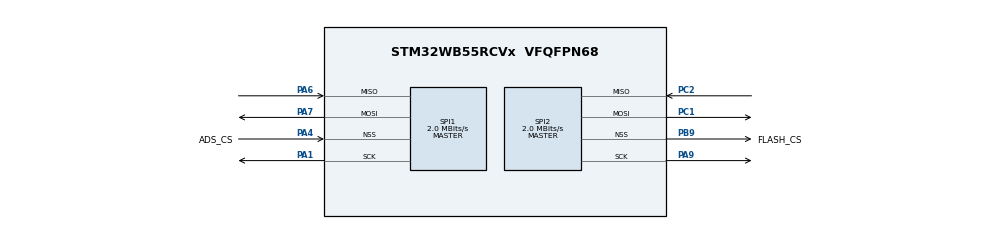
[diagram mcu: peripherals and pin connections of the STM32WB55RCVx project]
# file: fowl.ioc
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Mcu.Family=STM32WB
Mcu.Name=STM32WB55RCVx
Mcu.Package=VFQFPN68
NVIC.PriorityGroup=NVIC_PRIORITYGROUP_4
PA1.Mode=Full_Duplex_Master
PA1.Signal=SPI1_SCK
PA4.GPIO_Label=ADS_CS
PA4.Mode=NSS_Signal_Hard_Input
PA4.Signal=SPI1_NSS
PA6.Mode=Full_Duplex_Master
PA6.Signal=SPI1_MISO
PA7.Mode=Full_Duplex_Master
PA7.Signal=SPI1_MOSI
PA9.Mode=Full_Duplex_Master
PA9.Signal=SPI2_SCK
PB9.GPIO_Label=FLASH_CS
PB9.Mode=NSS_Signal_Hard_Output
PB9.Signal=SPI2_NSS
PC1.Mode=Full_Duplex_Master
PC1.Signal=SPI2_MOSI
PC2.Mode=Full_Duplex_Master
PC2.Signal=SPI2_MISO
ProjectManager.HeapSize=0x200
ProjectManager.StackSize=0x400
ProjectManager.TargetToolchain=STM32CubeIDE
RCC.APB3Freq_Value=16000000
RCC.HSE_VALUE=8000000
RCC.HSI48_VALUE=48000000
RCC.HSI_VALUE=16000000
RCC.LSE_VALUE=32768
RCC.VCOOutputFreq_Value=32000000
SPI1.CalculateBaudRate=2.0 MBits/s
SPI1.Direction=SPI_DIRECTION_2LINES
SPI1.Mode=SPI_MODE_MASTER
SPI1.VirtualNSS=VM_NSSHARD
SPI1.VirtualType=VM_MASTER
SPI2.CalculateBaudRate=2.0 MBits/s
SPI2.Direction=SPI_DIRECTION_2LINES
SPI2.Mode=SPI_MODE_MASTER
SPI2.VirtualNSS=VM_NSSHARD
SPI2.VirtualType=VM_MASTER
board=custom

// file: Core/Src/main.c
/* USER CODE BEGIN Header */
/**
  ******************************************************************************
  * @file           : main.c
  * @brief          : Main program body
  ******************************************************************************
  * @attention
  *
  * Copyright (c) 2023 STMicroelectronics.
  * All rights reserved.
  *
  * This software is licensed under terms that can be found in the LICENSE file
  * in the root directory of this software component.
  * If no LICENSE file comes with this software, it is provided AS-IS.
  *
  ******************************************************************************
  */
/* USER CODE END Header */
#include "main.h"

/* USER CODE BEGIN Includes */
#include <string.h>
#include "ads1293.h"
/* USER CODE END Includes */

 SPI_HandleTypeDef hspi1;
SPI_HandleTypeDef hspi2;

/* USER CODE BEGIN PV */

 uint8_t data[3];
 int timeout= 100;
 int size = 2;
 uint8_t tx_Data[20];

/* USER CODE END PV */

void SystemClock_Config(void);
void PeriphCommonClock_Config(void);
static void MX_GPIO_Init(void);
static void MX_SPI1_Init(void);
static void MX_SPI2_Init(void);

/* USER CODE BEGIN 0 */
static void cs_low_ads(){
	  HAL_GPIO_WritePin(GPIOA, ADS_CS_Pin, GPIO_PIN_RESET); //CS установлен в ноль
	  };
static void cs_high_ads(){
	 	  HAL_GPIO_WritePin(GPIOA, ADS_CS_Pin, GPIO_PIN_SET); //CS установлен в единицу
	 	  };

void ADS1293_write(uint8_t address, uint8_t value){
	uint8_t data[2];
	uint8_t command_field = address & ADS1293_WRITE_BIT;//формируем command field
	data[0] = command_field;
	data[1] = value; //байт, который запишем в регистр

	cs_low_ads();
	HAL_SPI_Transmit(&hspi1, data, 2, 100);
	//передача двух байт, первый - адрес регистра,
	//второй - то, что хотим записать
	cs_high_ads();
	HAL_Delay(10);
};
static uint8_t ADS1293_read(uint8_t address){
	uint8_t command_field = address | ADS1293_READ_BIT;
	uint8_t read_val;
	cs_low_ads();
	HAL_SPI_Transmit(&hspi1, &command_field, 1, 100);
	HAL_SPI_Receive(&hspi1, &read_val, 1, 100);
	cs_high_ads();
	return read_val;
};

void ADS1293_INIT(){
	//power-down - выкл, stand-by - выкл, start conversion выкл
	ADS1293_write(ADS1293_CONFIG_REG,0b000);
	//POS1=IN2, NEG1=IN1
	ADS1293_write(ADS1293_FLEX_CH1_CN_REG,0b00010001);
	//POS2=IN3, NEG2=IN1
	ADS1293_write(ADS1293_FLEX_CH2_CN_REG,0b00011001);
	// POS3=IN5, NEG3=IN6
	ADS1293_write(ADS1293_FLEX_CH3_CN_REG,0b00101110);
	//common-mode detector -вкл на IN1,IN2,IN3
	ADS1293_write(ADS1293_CMDET_EN_REG,0b00000111);
	//подкл IN4 к RLD control
	ADS1293_write(ADS1293_RLD_CN_REG,0b0000100);
	//подключаем Wilson control
	ADS1293_write(ADS1293_WILSON_EN1_REG,0b001);
	ADS1293_write(ADS1293_WILSON_EN2_REG,0b010);
	ADS1293_write(ADS1293_WILSON_EN3_REG,0b011);
	ADS1293_write(ADS1293_WILSON_CN_REG,0b01);

	//используем внешний кварцевый резонатор
	ADS1293_write(ADS1293_OSC_CN_REG,0b100);

	//настраиваем цифровой фильтр
	ADS1293_write(ADS1293_R2_RATE_REG,0b1000);

	ADS1293_write(ADS1293_R3_RATE1_REG,0b100);
	ADS1293_write(ADS1293_R3_RATE2_REG,0b100);
	ADS1293_write(ADS1293_R3_RATE3_REG,0b100);

	//data ready bar на channel 1 ECG
	ADS1293_write(ADS1293_DRDYB_SRC_REG,0b1000);

	//вкл чтение с CH1 CH2 CH3, вкл status data loop read-back
	ADS1293_write(ADS1293_CH_CNFG_REG,0b1110001);

};

void ADS1293_start_conv(){
	ADS1293_write(ADS1293_CH_CNFG_REG,0b001);
}

void ADS1293_stream_read(unsigned long int* databuffer){

	unsigned long int  result = 0x000000000000000000000000;
	  //////////// Read lead I
	  result=ADS1293_read(0x37);
	  result=result<<8;
	  result|=ADS1293_read(0x38);
	  result=result<<8;
	  result|=ADS1293_read(0x39);
	  databuffer[0]=result;

	  /////////// Read lead II
	  result=ADS1293_read(0x3A);
	  result=result<<8;
	  result|=ADS1293_read(0x3B);
	  result=result<<8;
	  result|=ADS1293_read(0x3C);
	  databuffer[1]=result;

	  //////Read lead V1
	  result=ADS1293_read(0x3D);
	  result=result<<8;
	  result|=ADS1293_read(0x3E);
	  result=result<<8;
	  result|=ADS1293_read(0x3F);
	  databuffer[2]=result;

}

/* USER CODE END 0 */

int main(void)
{

  /* MCU Configuration--------------------------------------------------------*/

  /* Reset of all peripherals, Initializes the Flash interface and the Systick. */
  HAL_Init();

  /* Configure the system clock */
  SystemClock_Config();

/* Configure the peripherals common clocks */
  PeriphCommonClock_Config();

  /* Initialize all configured peripherals */
  MX_GPIO_Init();
  MX_SPI1_Init();
  MX_SPI2_Init();

  /* Infinite loop */
  while (1)
  {

    /* USER CODE BEGIN 3 */
	  ADS1293_read(ADS1293_AFE_DITHER_EN_REG);

/*

	  void ADS_INIT(){

		  uint8_t tmpTXData[20];//объявили массив для хранения данных
		  memset(tmpTXData, 0, sizeof(tmpTXData));//Очистка массива
		  tmpTXData[0]=ADS1293_CONFIG_REG;//записали в первый элемент массива адрес конфигурационного регистра
		  tmpTXData[1]=0x010;//запустили режим ожидания - записав во второй элемент массива нужную комбинацию
		  ADS1293_write_read(tmpTXData, 2);//отправляем по spi два байта - адрес регистра + то что хотим записать

	  }
	 void ADS_CONFIG(){
			uint8_t tmpTXData[20];//объявили массив для хранения данных

			memset(tmpTXData, 0, sizeof(tmpTXData));//Очистка массива
			tmpTXData[0]=ADS1293_FLEX_CH1_CN_REG;//записали в первый элемент массива адрес конфигурационного регистра
			tmpTXData[1]=0b01001010;// конфигурация Flex Routing Switch Control for Channel 1
			ADS1293_write_read(tmpTXData, 2);//отправляем по spi два байта - адрес регистра + то что хотим записать

			memset(tmpTXData, 0, sizeof(tmpTXData));//Очистка массива
			tmpTXData[0]=ADS1293_FLEX_CH2_CN_REG;//записали в первый элемент массива адрес конфигурационного регистра
			tmpTXData[1]=0b01001010;// конфигурация Flex Routing Switch Control for Channel 2
			ADS1293_write_read(tmpTXData, 2);

			memset(tmpTXData, 0, sizeof(tmpTXData));//Очистка массива
			tmpTXData[0]=ADS1293_FLEX_CH3_CN_REG;//записали в первый элемент массива адрес конфигурационного регистра
			tmpTXData[1]=0b01001010;// конфигурация Flex Routing Switch Control for Channel 3
			ADS1293_write_read(tmpTXData, 2);

			memset(tmpTXData, 0, sizeof(tmpTXData));//Очистка массива
			tmpTXData[0]=ADS1293_FLEX_VBAT_CN_REG;//записали в первый элемент массива адрес конфигурационного регистра
			tmpTXData[1]=0b111;// Flex Routing Switch for Battery Monitoring
			ADS1293_write_read(tmpTXData, 2);

			//Lead-Off Detect Control Registers

			memset(tmpTXData, 0, sizeof(tmpTXData));//Очистка массива
			tmpTXData[0]=ADS1293_LOD_CN_REG;//записали в первый элемент массива адрес конфигурационного регистра
			tmpTXData[1]=0b10100;//Lead-Off Detect Control
			ADS1293_write_read(tmpTXData, 2);

			//Lead-Off Detect Enable

			memset(tmpTXData, 0, sizeof(tmpTXData));//Очистка массива
			tmpTXData[0]=ADS1293_LOD_CN_REG;//записали в первый элемент массива адрес конфигурационного регистра
			tmpTXData[1]=0b111111;//Lead-Off Detect Enable
			ADS1293_write_read(tmpTXData, 2);

	 	 }*/

  }
  /* USER CODE END 3 */
}

void SystemClock_Config(void)
{
  RCC_OscInitTypeDef RCC_OscInitStruct = {0};
  RCC_ClkInitTypeDef RCC_ClkInitStruct = {0};

  /** Configure the main internal regulator output voltage
  */
  __HAL_PWR_VOLTAGESCALING_CONFIG(PWR_REGULATOR_VOLTAGE_SCALE1);

  /** Initializes the RCC Oscillators according to the specified parameters
  * in the RCC_OscInitTypeDef structure.
  */
  RCC_OscInitStruct.OscillatorType = RCC_OSCILLATORTYPE_HSI|RCC_OSCILLATORTYPE_MSI;
  RCC_OscInitStruct.HSIState = RCC_HSI_ON;
  RCC_OscInitStruct.MSIState = RCC_MSI_ON;
  RCC_OscInitStruct.HSICalibrationValue = RCC_HSICALIBRATION_DEFAULT;
  RCC_OscInitStruct.MSICalibrationValue = RCC_MSICALIBRATION_DEFAULT;
  RCC_OscInitStruct.MSIClockRange = RCC_MSIRANGE_6;
  RCC_OscInitStruct.PLL.PLLState = RCC_PLL_NONE;
  if (HAL_RCC_OscConfig(&RCC_OscInitStruct) != HAL_OK)
  {
    Error_Handler();
  }

  /** Configure the SYSCLKSource, HCLK, PCLK1 and PCLK2 clocks dividers
  */
  RCC_ClkInitStruct.ClockType = RCC_CLOCKTYPE_HCLK4|RCC_CLOCKTYPE_HCLK2
                              |RCC_CLOCKTYPE_HCLK|RCC_CLOCKTYPE_SYSCLK
                              |RCC_CLOCKTYPE_PCLK1|RCC_CLOCKTYPE_PCLK2;
  RCC_ClkInitStruct.SYSCLKSource = RCC_SYSCLKSOURCE_MSI;
  RCC_ClkInitStruct.AHBCLKDivider = RCC_SYSCLK_DIV1;
  RCC_ClkInitStruct.APB1CLKDivider = RCC_HCLK_DIV1;
  RCC_ClkInitStruct.APB2CLKDivider = RCC_HCLK_DIV1;
  RCC_ClkInitStruct.AHBCLK2Divider = RCC_SYSCLK_DIV1;
  RCC_ClkInitStruct.AHBCLK4Divider = RCC_SYSCLK_DIV1;

  if (HAL_RCC_ClockConfig(&RCC_ClkInitStruct, FLASH_LATENCY_0) != HAL_OK)
  {
    Error_Handler();
  }
}

void PeriphCommonClock_Config(void)
{
  RCC_PeriphCLKInitTypeDef PeriphClkInitStruct = {0};

  /** Initializes the peripherals clock
  */
  PeriphClkInitStruct.PeriphClockSelection = RCC_PERIPHCLK_SMPS;
  PeriphClkInitStruct.SmpsClockSelection = RCC_SMPSCLKSOURCE_HSI;
  PeriphClkInitStruct.SmpsDivSelection = RCC_SMPSCLKDIV_RANGE1;

  if (HAL_RCCEx_PeriphCLKConfig(&PeriphClkInitStruct) != HAL_OK)
  {
    Error_Handler();
  }
}

static void MX_SPI1_Init(void)
{

  /* SPI1 parameter configuration*/
  hspi1.Instance = SPI1;
  hspi1.Init.Mode = SPI_MODE_MASTER;
  hspi1.Init.Direction = SPI_DIRECTION_2LINES;
  hspi1.Init.DataSize = SPI_DATASIZE_4BIT;
  hspi1.Init.CLKPolarity = SPI_POLARITY_LOW;
  hspi1.Init.CLKPhase = SPI_PHASE_1EDGE;
  hspi1.Init.NSS = SPI_NSS_HARD_INPUT;
  hspi1.Init.BaudRatePrescaler = SPI_BAUDRATEPRESCALER_2;
  hspi1.Init.FirstBit = SPI_FIRSTBIT_MSB;
  hspi1.Init.TIMode = SPI_TIMODE_DISABLE;
  hspi1.Init.CRCCalculation = SPI_CRCCALCULATION_DISABLE;
  hspi1.Init.CRCPolynomial = 7;
  hspi1.Init.CRCLength = SPI_CRC_LENGTH_DATASIZE;
  hspi1.Init.NSSPMode = SPI_NSS_PULSE_ENABLE;
  if (HAL_SPI_Init(&hspi1) != HAL_OK)
  {
    Error_Handler();
  }

}

static void MX_SPI2_Init(void)
{

  /* SPI2 parameter configuration*/
  hspi2.Instance = SPI2;
  hspi2.Init.Mode = SPI_MODE_MASTER;
  hspi2.Init.Direction = SPI_DIRECTION_2LINES;
  hspi2.Init.DataSize = SPI_DATASIZE_4BIT;
  hspi2.Init.CLKPolarity = SPI_POLARITY_LOW;
  hspi2.Init.CLKPhase = SPI_PHASE_1EDGE;
  hspi2.Init.NSS = SPI_NSS_HARD_OUTPUT;
  hspi2.Init.BaudRatePrescaler = SPI_BAUDRATEPRESCALER_2;
  hspi2.Init.FirstBit = SPI_FIRSTBIT_MSB;
  hspi2.Init.TIMode = SPI_TIMODE_DISABLE;
  hspi2.Init.CRCCalculation = SPI_CRCCALCULATION_DISABLE;
  hspi2.Init.CRCPolynomial = 7;
  hspi2.Init.CRCLength = SPI_CRC_LENGTH_DATASIZE;
  hspi2.Init.NSSPMode = SPI_NSS_PULSE_ENABLE;
  if (HAL_SPI_Init(&hspi2) != HAL_OK)
  {
    Error_Handler();
  }

}

static void MX_GPIO_Init(void)
{

  /* GPIO Ports Clock Enable */
  __HAL_RCC_GPIOB_CLK_ENABLE();
  __HAL_RCC_GPIOC_CLK_ENABLE();
  __HAL_RCC_GPIOA_CLK_ENABLE();

}

void Error_Handler(void)
{
  __disable_irq();
  while (1)
  {
  }
}
